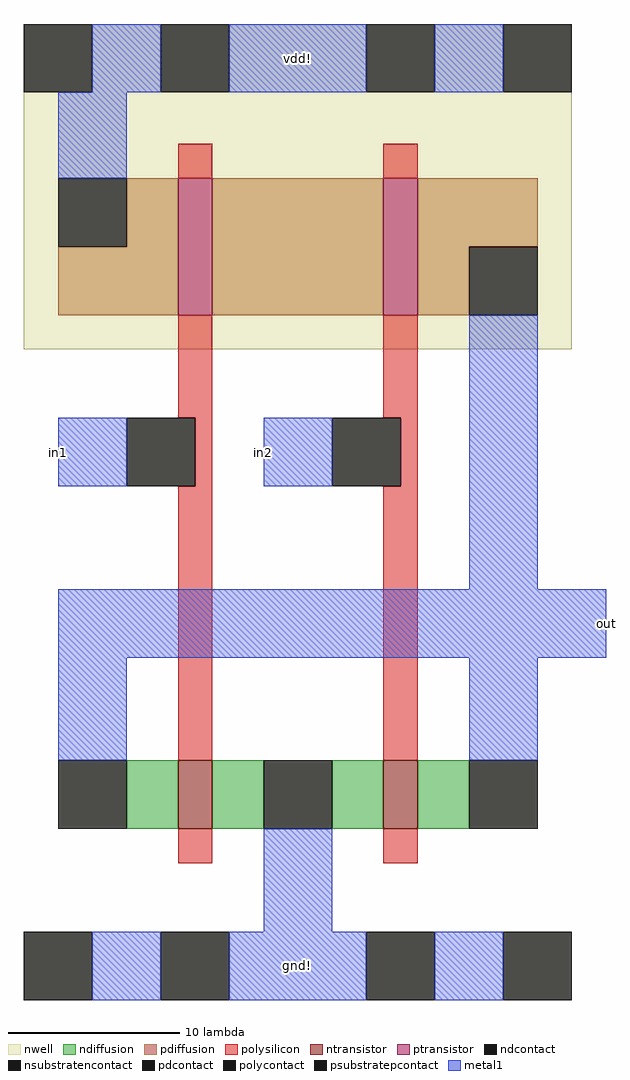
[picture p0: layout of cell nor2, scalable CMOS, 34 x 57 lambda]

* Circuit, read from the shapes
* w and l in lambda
.subckt nor2 gnd! in1 in2 out vdd!
M1 gnd! in1 out gnd! nfet w=4 l=2
M2 out in2 gnd! gnd! nfet w=4 l=2
M3 n1 in1 vdd! vdd! pfet w=8 l=2
M4 out in2 n1 vdd! pfet w=8 l=2
.ends

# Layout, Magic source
magic
tech scmos
<< nwell >>
rect -4 6 28 25
<< polysilicon >>
rect 5 16 7 18
rect 17 16 19 18
rect 5 2 7 8
rect 17 2 19 8
rect 6 -2 7 2
rect 18 -2 19 2
rect 5 -18 7 -2
rect 17 -18 19 -2
rect 5 -24 7 -22
rect 17 -24 19 -22
<< ndiffusion >>
rect 2 -22 5 -18
rect 7 -22 10 -18
rect 14 -22 17 -18
rect 19 -22 22 -18
<< pdiffusion >>
rect 2 12 5 16
rect -2 8 5 12
rect 7 8 17 16
rect 19 12 26 16
rect 19 8 22 12
<< metal1 >>
rect 0 21 4 25
rect 8 21 16 25
rect 20 21 24 25
rect -2 16 2 21
rect -2 -2 2 2
rect 10 -2 14 2
rect 22 -8 26 8
rect -2 -12 30 -8
rect -2 -18 2 -12
rect 22 -18 26 -12
rect 10 -28 14 -22
rect 0 -32 4 -28
rect 8 -32 16 -28
rect 20 -32 24 -28
<< ntransistor >>
rect 5 -22 7 -18
rect 17 -22 19 -18
<< ptransistor >>
rect 5 8 7 16
rect 17 8 19 16
<< polycontact >>
rect 2 -2 6 2
rect 14 -2 18 2
<< ndcontact >>
rect -2 -22 2 -18
rect 10 -22 14 -18
rect 22 -22 26 -18
<< pdcontact >>
rect -2 12 2 16
rect 22 8 26 12
<< psubstratepcontact >>
rect -4 -32 0 -28
rect 4 -32 8 -28
rect 16 -32 20 -28
rect 24 -32 28 -28
<< nsubstratencontact >>
rect -4 21 0 25
rect 4 21 8 25
rect 16 21 20 25
rect 24 21 28 25
<< labels >>
rlabel metal1 12 -30 12 -30 1 gnd!
rlabel metal1 12 23 12 23 5 vdd!
rlabel metal1 -2 -2 -2 2 3 in1
rlabel metal1 10 -2 10 2 1 in2
rlabel metal1 30 -12 30 -8 7 out
<< end >>
